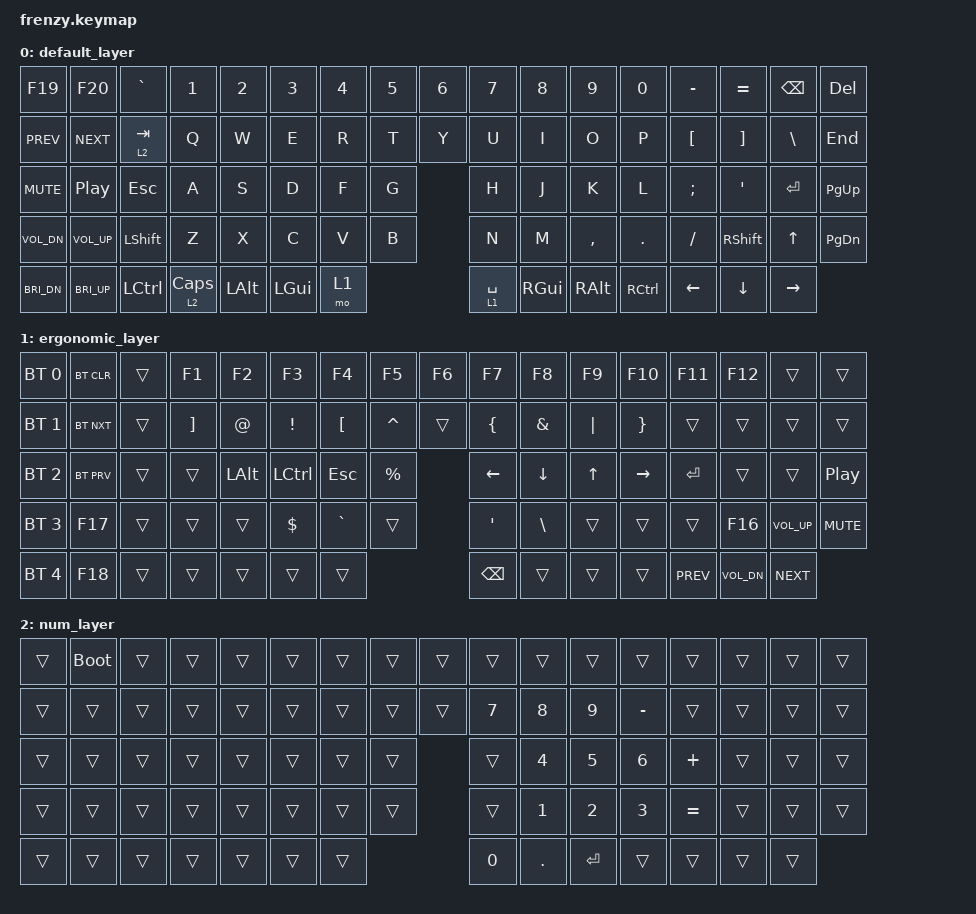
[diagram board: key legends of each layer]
/*
 * Copyright (c) 2020 The ZMK Contributors
 *
 * SPDX-License-Identifier: MIT
 */

#include <behaviors.dtsi>
#include <dt-bindings/zmk/bt.h>
#include <dt-bindings/zmk/keys.h>

/ {
    keymap {
        compatible = "zmk,keymap";

// ---------------------------------------------------------------------------------------------------------------------
// | F19 | F20 |  `    |  1   |  2  |  3   |  4  |  5  |  6  |      |  7  |  8  |  9  |  0  |  -  |  =  |  BKSPC | DEL  |
// | PREV| NEXT|  TAB   |  Q   |  W  |  E  |  R  |  T  |         |  Y  |  U  |  I  |  O  |  P  |  [  |  ]  |  \  | END  |
// | MUTE| PLAY|  ESC   |  A  |  S  |  D  |  F  |  G  |           |  H  |  J  |  K  |  L  |  ;  |  '  |  ENTER   | PGUP |
// | VOLD| VOLU|  SHIFT   |  Z   |  X  |  C  |  V   |  B  |        |  N  |  M  |  ,  |  .  |  /  |  RSHFT  |  UP | PGDN |
// | BRID| BRIU|  LCTRL | FN/CAPS | LALT | LGUI  |   LAYER1  |    |    SPACE   | RGUI | RALT | RCTRL | LFT | DWN | RGHT |
// ---------------------------------------------------------------------------------------------------------------------

        default_layer {
            bindings = <
    &kp F19      &kp F20      &kp GRAVE &kp N1 &kp N2     &kp N3   &kp N4   &kp N5 &kp N6   /**/ &kp N7      &kp N8   &kp N9     &kp N0    &kp MINUS &kp EQUAL &kp BSPC &kp DEL
    &kp C_PREV   &kp C_NEXT   &lt 2 TAB &kp Q  &kp W      &kp E    &kp R    &kp T           /**/ &kp Y       &kp U    &kp I     &kp O     &kp P     &kp LBKT  &kp RBKT &kp BSLH &kp END
    &kp K_MUTE   &kp C_PP     &kp ESC   &kp A  &kp S      &kp D    &kp F    &kp G           /**/ &kp H       &kp J    &kp K     &kp L     &kp SEMI  &kp SQT   &kp RET  &kp PG_UP
    &kp C_VOL_DN &kp C_VOL_UP &kp LSHFT &kp Z  &kp X      &kp C    &kp V    &kp B           /**/ &kp N       &kp M    &kp COMMA &kp DOT   &kp FSLH  &kp RSHFT &kp UP   &kp PG_DN
    &kp C_BRI_DN &kp C_BRI_UP &kp LCTRL        &lt 2 CAPS &kp LALT &kp LGUI &mo 1           /**/ &lt 1 SPACE &kp RGUI &kp RALT  &kp RCTRL &kp LEFT  &kp DOWN  &kp RIGHT
            >;
        };

// ---------------------------------------------------------------------------------------------------------------------
// | BT1 | BTC |       |  F1  | F2  | F3   | F4  | F5  | F6  |      | F7  | F8  | F9  | F10 | F11 | F12 |        |      |
// | BT2 | BTN |        |   ]  |  @  |   !  |  [  |  ^  |        |    |  {  | AMPS | PIPE |  }  |    |     |     |      |
// | BT3 | BTP |        |     | LALT | LCTRL | ESC |  %  |        | LFT | DWN | UP | RGHT | ENTER |     |        | PLAY |
// | BT4 | F17 |         |      |     |   $  |  `   |     |        |  '  |  \  |     |     |     |   F16   |VOLU | MUTE |
// | BT5 | F18 |          |    |      |       |            |      |    BKSPC   |      |      |       |PREV |VOLD |NEXT  |
// ---------------------------------------------------------------------------------------------------------------------

        ergonomic_layer {
            bindings = <
    &bt BT_SEL 0 &bt BT_CLR &trans &kp F1   &kp F2   &kp F3    &kp F4    &kp F5  &kp F6    /**/ &kp F7   &kp F8   &kp F9   &kp F10   &kp F11    &kp F12       &trans        &trans
    &bt BT_SEL 1 &bt BT_NXT &trans &kp RBKT &kp AT   &kp EXCL  &kp LBKT  &kp CARET         /**/ &trans   &kp LBRC &kp AMPS &kp PIPE  &kp RBRC   &trans        &trans        &trans &trans
    &bt BT_SEL 2 &bt BT_PRV &trans &trans   &kp LALT &kp LCTRL &kp ESC   &kp PRCNT         /**/ &kp LEFT &kp DOWN &kp UP   &kp RIGHT &kp RET    &trans        &trans        &kp C_PP 
    &bt BT_SEL 3 &kp F17    &trans &trans   &trans   &kp DLLR  &kp GRAVE &trans            /**/ &kp SQT  &kp BSLH &trans   &trans    &trans     &kp F16       &kp C_VOL_UP  &kp K_MUTE
    &bt BT_SEL 4 &kp F18    &trans &trans   &trans   &trans    &trans                      /**/ &kp BSPC &trans   &trans   &trans    &kp C_PREV &kp C_VOL_DN  &kp C_NEXT
            >;
        };

// ---------------------------------------------------------------------------------------------------------------------
// |     |BOOTL|       |      |     |      |     |     |     |      |     |     |     |     |     |     |        |      |
// |     |     |        |      |     |      |     |     |        |     |  7  |  8  |  9  |  -  |     |     |     |      |
// |     |     |         |      |     |      |     |     |        |     |  4  | 5   |  6  |  +  |     |          |      |
// |     |     |          |      |     |     |      |     |        |     |  1  |  2  |  3  |  =  |         |     |      |
// |     |     |          |    |      |       |            |      |      0     |  .   |ENTER |       |     |     |      |
// ---------------------------------------------------------------------------------------------------------------------

        num_layer {
            bindings = <
    &trans &bootloader &trans &trans &trans &trans &trans &trans &trans  /**/ &trans  &trans  &trans   &trans   &trans     &trans &trans &trans
    &trans &trans      &trans &trans &trans &trans &trans &trans         /**/ &trans  &kp N7  &kp N8   &kp N9   &kp MINUS  &trans &trans &trans &trans
    &trans &trans      &trans &trans &trans &trans &trans &trans         /**/ &trans  &kp N4  &kp N5   &kp N6   &kp PLUS   &trans &trans &trans
    &trans &trans      &trans &trans &trans &trans &trans &trans         /**/ &trans  &kp N1  &kp N2   &kp N3   &kp EQUAL  &trans &trans &trans
    &trans &trans      &trans &trans &trans &trans &trans                /**/ &kp N0          &kp DOT  &kp RET  &trans     &trans &trans &trans
            >;
        };

// ---------------------------------------------------------------------------------------------------------------------
// |     |     |       |      |     |      |     |     |     |      |     |     |     |     |     |     |        |      |
// |     |     |        |      |     |      |     |     |        |     |     |     |     |     |     |     |     |      |
// |     |     |         |      |     |      |     |     |        |     |     |     |     |     |     |          |      |
// |     |     |          |      |     |     |      |     |        |     |     |     |     |     |         |     |      |
// |     |     |          |    |      |       |            |      |            |      |      |       |     |     |      |
// ---------------------------------------------------------------------------------------------------------------------

    };
};
